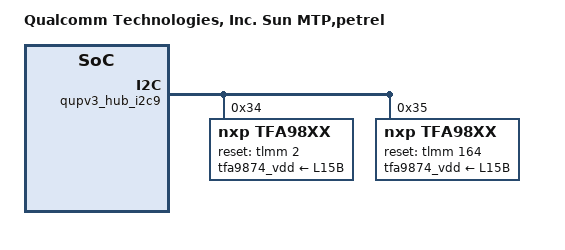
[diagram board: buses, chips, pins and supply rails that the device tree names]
/dts-v1/;
/plugin/;
#include <dt-bindings/oplus/hw-id.h>
#include "../sun-audio-mtp-nfc.dts"
#include "sun-audio-overlay-common.dtsi"
#include "petrel-24001-audio-sun-overlay.dtsi"

/ {
    model = "Qualcomm Technologies, Inc. Sun MTP,petrel";

    oplus,project-id = <24001 24002 24201 24861>;
    oplus,hw-id = <OPLUS_DVT1 OPLUS_DVT2 OPLUS_PVT1>;
};

&qupv3_hub_i2c9 {
	status = "ok";
	qcom,clk-freq-out = <400000>;
	tfa98xx@34 {
		compatible = "nxp,tfa98xx";
		reg = <0x34>;
		reset-gpio = <&tlmm 2 0x00>;
		tfa9874_vdd-supply = <&L15B>;
		tfa_min_range = <5100>;
		tfa_max_range = <7300>;
		tfa_default_mohm = <6000>;
		tfa_channel = <1>;
		is_use_freq = <1>;
		reset-polarity = <0>;
		status = "ok";
		fpga-check-enable = <1>;
	};
	tfa98xx@35 {
		compatible = "nxp,tfa98xx";
		reg = <0x35>;
		reset-gpio = <&tlmm 164 0x00>;
		tfa9874_vdd-supply = <&L15B>;
		tfa_min_range = <5100>;
		tfa_max_range = <7300>;
		tfa_default_mohm = <6000>;
		tfa_channel = <0>;
		is_use_freq = <1>;
		reset-polarity = <0>;
		status = "ok";
		fpga-check-enable = <1>;
	};
};
